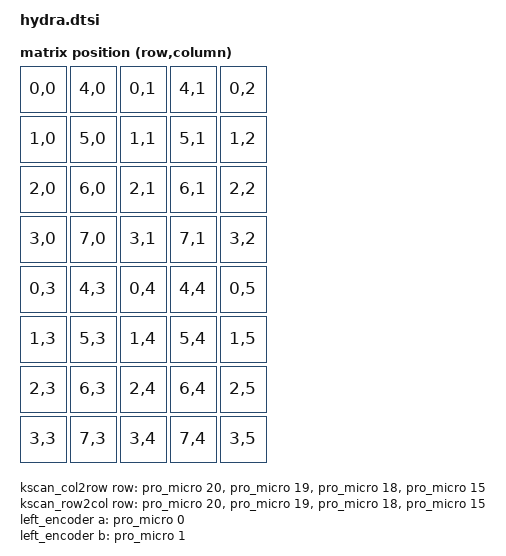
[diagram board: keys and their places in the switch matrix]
#include <dt-bindings/zmk/matrix_transform.h>
#include <dt-bindings/zmk/behaviors.h>
#include "hydra-layouts.dtsi"

&physical_layout0 {
    transform = <&default_transform>;
};

/ {
    chosen {
        zmk,kscan = &kscan0;
        zmk,physical-layout = &physical_layout0;
    };

    default_transform: keymap_transform_0 {
        compatible = "zmk,matrix-transform";
        columns = <6>;  // 3 physical cols per side
        rows = <8>;     // 4 col2row rows + 4 row2col rows (Japanese Duplex)

        // Visual layout per row (5 keys: col2row, row2col, col2row, row2col, col2row)
        // Left cols 0-2, Right cols 3-5 (via col-offset=3 in right overlay)
        // col2row keys  → RC(row,   col)
        // row2col keys  → RC(row+4, col)  [row-offset=4 in composite]

        map = <
            // Left side
            RC(0,0) RC(4,0) RC(0,1) RC(4,1) RC(0,2)   // ROW1: S1  S2  S3  S4  S5
            RC(1,0) RC(5,0) RC(1,1) RC(5,1) RC(1,2)   // ROW2: S6  S7  S8  S9  S10
            RC(2,0) RC(6,0) RC(2,1) RC(6,1) RC(2,2)   // ROW3: S11 S12 S13 S14 S15
            RC(3,0) RC(7,0) RC(3,1) RC(7,1) RC(3,2)   // ROW4: S16 S17 S18 S19 S20
            // Right side
            RC(0,3) RC(4,3) RC(0,4) RC(4,4) RC(0,5)   // ROW1: S21 S22 S23 S24 S25
            RC(1,3) RC(5,3) RC(1,4) RC(5,4) RC(1,5)   // ROW2: S26 S27 S28 S29 S30
            RC(2,3) RC(6,3) RC(2,4) RC(6,4) RC(2,5)   // ROW3: S31 S32 S33 S34 S35
            RC(3,3) RC(7,3) RC(3,4) RC(7,4) RC(3,5)   // ROW4: S36 S37 S38 S39 S40
        >;
    };

    kscan_col2row: kscan_col2row {
        compatible = "zmk,kscan-gpio-matrix";
        wakeup-source;
        diode-direction = "col2row";
        row-gpios
            = <&pro_micro 20 (GPIO_ACTIVE_HIGH | GPIO_PULL_DOWN)> // ROW1 D20
            , <&pro_micro 19 (GPIO_ACTIVE_HIGH | GPIO_PULL_DOWN)> // ROW2 D19
            , <&pro_micro 18 (GPIO_ACTIVE_HIGH | GPIO_PULL_DOWN)> // ROW3 D18
            , <&pro_micro 15 (GPIO_ACTIVE_HIGH | GPIO_PULL_DOWN)> // ROW4 D15
            ;
        // col-gpios added by each side overlay
    };

    kscan_row2col: kscan_row2col {
        compatible = "zmk,kscan-gpio-matrix";
        wakeup-source;
        diode-direction = "row2col";
        // ROW pins are OUTPUTS in row2col — GPIO_ACTIVE_HIGH only, no pull
        row-gpios
            = <&pro_micro 20 GPIO_ACTIVE_HIGH> // ROW1 D20
            , <&pro_micro 19 GPIO_ACTIVE_HIGH> // ROW2 D19
            , <&pro_micro 18 GPIO_ACTIVE_HIGH> // ROW3 D18
            , <&pro_micro 15 GPIO_ACTIVE_HIGH> // ROW4 D15
            ;
        // COL pins are INPUTS in row2col — (GPIO_ACTIVE_HIGH | GPIO_PULL_DOWN) added by each side overlay
    };

    kscan0: kscan_composite {
        compatible = "zmk,kscan-composite";
        wakeup-source;
        rows = <8>;
        columns = <3>;

        kscan_c2r {
            kscan = <&kscan_col2row>;
        };
        kscan_r2c {
            kscan = <&kscan_row2col>;
            row-offset = <4>;
        };
    };

    behaviors {
        htp: hold_tap_preferred {
            compatible = "zmk,behavior-hold-tap";
            #binding-cells = <2>;
            flavor = "tap-preferred";
            tapping-term-ms = <500>;
            bindings = <&kp>, <&kp>;
            display-name = "Tap preffered hold-tap";
        };
    };

    left_encoder: encoder_left {
        label = "LEFT_ENCODER";
        compatible = "alps,ec11";
        a-gpios = <&pro_micro 0 (GPIO_ACTIVE_HIGH | GPIO_PULL_DOWN)>; // Pin A
        b-gpios = <&pro_micro 1 (GPIO_ACTIVE_HIGH | GPIO_PULL_DOWN)>; // Pin B
        steps = <20>;
        status = "disabled";
    };

    sensors {
        compatible = "zmk,keymap-sensors";
        sensors = <&left_encoder>;
        triggers-per-rotation = <20>;
    };

};
